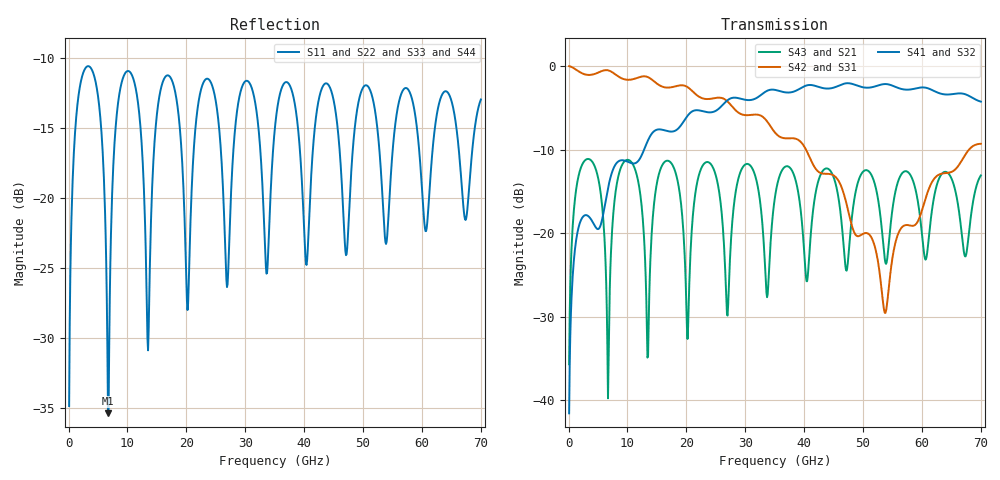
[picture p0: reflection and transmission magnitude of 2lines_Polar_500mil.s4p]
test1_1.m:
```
%% Basic Information
%%% Overview
% Transmission-line parameters extractor
% MATLAB implementation of Patent US8892414B1
% Author Name: Guorui Wei
% Created in: 2020-05-06 10:45
% Example: Edge-Coupled Surface Microstrip 
% Note: Using larger frequency intervals

clc; clear; close all;

%% Import data

% Import simulated data
lineLength = 0.0127; % Line Length(meters)
filename_2line = 'data/2line/2lines_Polar_500mil.s4p';
SingleEnded4PortData = read(rfdata.data,filename_2line);
freq = SingleEnded4PortData.Freq;
freqPts = length(freq);
z0 = SingleEnded4PortData.Z0; % Reference Impedance
numOfLines = size(SingleEnded4PortData.S_Parameters,1)/2;
SingleEnded4PortData.S_Parameters = snp2smp(SingleEnded4PortData.S_Parameters,...
    z0,1:1:2*numOfLines); % Classic style

% Import Cadence-PowerSI-extracted params
% Allocate memory
rlgc_PowerSI.R = zeros(numOfLines,numOfLines,freqPts);
rlgc_PowerSI.L = rlgc_PowerSI.R;
rlgc_PowerSI.C = rlgc_PowerSI.R;
rlgc_PowerSI.G = rlgc_PowerSI.R;
% Load data
filename_PowerSI = 'data/2line/Transmission_RLGC_res.csv';
opts = detectImportOptions(filename_PowerSI);
rlgc_PowerSI_mat = readtable(filename_PowerSI);
for freqIdx = 1:freqPts
    for i = 1:numOfLines
        for j = i:numOfLines
            rlgc_PowerSI.R(i,j,freqIdx) = rlgc_PowerSI_mat{4*freqIdx-3,(2*numOfLines+2-i)*(i-1)/2+j-i+3}/lineLength;
            rlgc_PowerSI.L(i,j,freqIdx) = rlgc_PowerSI_mat{4*freqIdx-2,(2*numOfLines+2-i)*(i-1)/2+j-i+3}/lineLength;
            rlgc_PowerSI.G(i,j,freqIdx) = rlgc_PowerSI_mat{4*freqIdx-1,(2*numOfLines+2-i)*(i-1)/2+j-i+3}/lineLength;
            rlgc_PowerSI.C(i,j,freqIdx) = rlgc_PowerSI_mat{4*freqIdx-0,(2*numOfLines+2-i)*(i-1)/2+j-i+3}/lineLength;
        end
    end
    % RLGC是对称阵
    for i = 1:numOfLines
        for j = i+1:numOfLines
            rlgc_PowerSI.R(j,i,freqIdx) = rlgc_PowerSI.R(i,j,freqIdx);
            rlgc_PowerSI.L(j,i,freqIdx) = rlgc_PowerSI.L(i,j,freqIdx);
            rlgc_PowerSI.G(j,i,freqIdx) = rlgc_PowerSI.G(i,j,freqIdx);
            rlgc_PowerSI.C(j,i,freqIdx) = rlgc_PowerSI.C(i,j,freqIdx);
        end
    end
end

%% Extract RLGC params using proposed method

idx_selected = ceil(1:5:freqPts);
rlgc_t = s2rlgc_t(SingleEnded4PortData.S_Parameters(:,:,idx_selected),lineLength,freq(idx_selected),z0,[],true);
% check_consistence(rlgc_t.R, rlgc_t.L, rlgc_t.G, rlgc_t.C, lineLength, freq(idx_selected), z0);
```
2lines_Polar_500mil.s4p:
! www.PolarInstruments.com
! File Export V10.11 [9.03]
! For hxji@mail.xidian.edu.cn;QQ=47399897
! File : D:\SJTU\Bachelor\thesis\Multi-line\transmission-line-params-extractor\data\2line\2line_Polar_500mil.s4p
! Polar  PCB Transmission Line Field Solver  v11.04.00
# MHz S DB R 50.00
! Line Length = 0.013m ( 0.50 inch )
!  PORT NUMBERING (Classic style)
!  PORT#  PORT#
!  Z1 = Z2 = 50.00  Z3 = Z4 = 50.00
!  1 --|  |-- 3
!  2 --|  |-- 4
! FREQ MHz  S11  S12  S13  S14
!  S21  S22  S23  S24
!  S31  S32  S33  S34
!  S41  S42  S43  S44
!  DB  ANG  DB  ANG  DB  ANG  DB  ANG
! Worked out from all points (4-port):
!   700 points, 100 MHz to 70 GHz, reference 50 ohm
!   strongest paths, dB at 100 MHz, 17.6 GHz, 35.1 GHz, 52.6 GHz, 70 GHz:
!     S41: -41.6, -7.8, -2.9, -2.3, -4.3
!     S32: -41.6, -7.8, -2.9, -2.3, -4.3
!     S42: 0.0, -2.5, -8.0, -23.7, -9.3
!     S31: 0.0, -2.5, -8.0, -23.7, -9.3
!     S43: -35.7, -11.8, -15.4, -16.2, -13.1
!     S21: -35.7, -11.8, -15.4, -16.2, -13.1
!   lowest |S11| = -35.4 dB at 6.7 GHz (marker M1), VSWR 1.03, Z = 51.5 - j0.771 ohm
!   |S11| at or under -10 dB: start of sweep to end of sweep
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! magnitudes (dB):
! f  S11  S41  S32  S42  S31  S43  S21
! 100 MHz  -34.9  -41.6  -41.6  0.0  0.0  -35.7  -35.7
! 6.7 GHz  -35.4  -14.6  -14.6  -0.5  -0.5  -39.8  -39.8
! 70 GHz  -12.9  -4.3  -4.3  -9.3  -9.3  -13.1  -13.1
